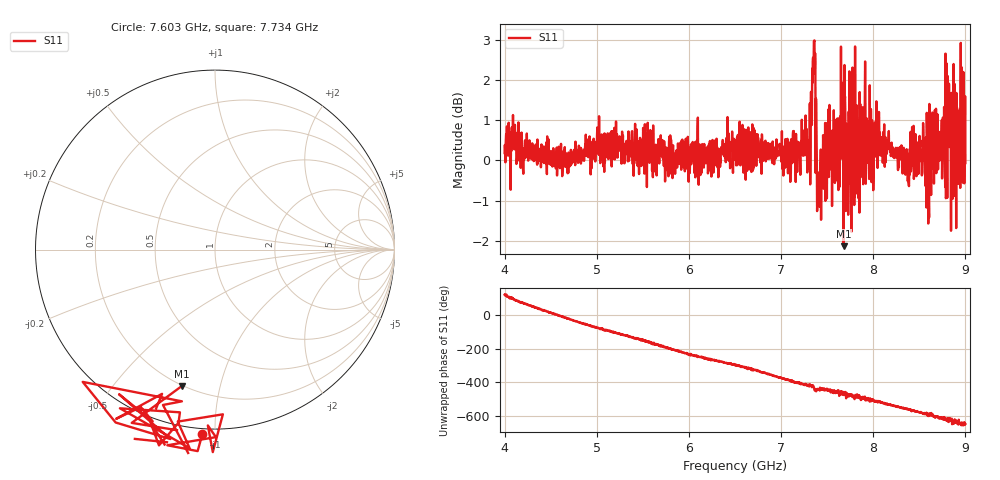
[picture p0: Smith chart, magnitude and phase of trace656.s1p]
! Created with skrf 1.8.0 (http://scikit-rf.org).
# Hz S RI R 50.0
!freq ReS11 ImS11
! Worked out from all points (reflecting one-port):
!   1601 points, 4 GHz to 9 GHz, reference 50 ohm
!   lowest |S11| = -2.1 dB at 7.678 GHz (marker M1), VSWR 8.19, Z = 9.79 - j38.4 ohm
!   phase of S11 starts at 121 deg and turns -768 deg over the sweep
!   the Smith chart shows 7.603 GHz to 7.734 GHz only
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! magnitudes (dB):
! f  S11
! 4 GHz  0.2
! 4.1 GHz  0.6
! 4.625 GHz  -0.4
! 5.25 GHz  0.4
! 5.875 GHz  0.1
! 6.5 GHz  0.2
! 7.125 GHz  0.3
! 7.294 GHz  -0.2
! 7.347 GHz  2.6
! 7.362 GHz  3.0
! 7.4 GHz  -0.9
! 7.416 GHz  -0.4
! 7.469 GHz  0.5
! 7.619 GHz  1.0
! 7.672 GHz  1.9
! 7.678 GHz  -2.1
! 7.703 GHz  -1.3
! 7.75 GHz  0.8
! 7.928 GHz  1.1
! 8.375 GHz  -0.5
! 8.522 GHz  0.0
! 8.581 GHz  1.2
! 8.656 GHz  0.9
! 8.766 GHz  0.4
! 8.816 GHz  0.6
! 8.875 GHz  0.9
! 8.972 GHz  0.6
! 9 GHz  -0.1
